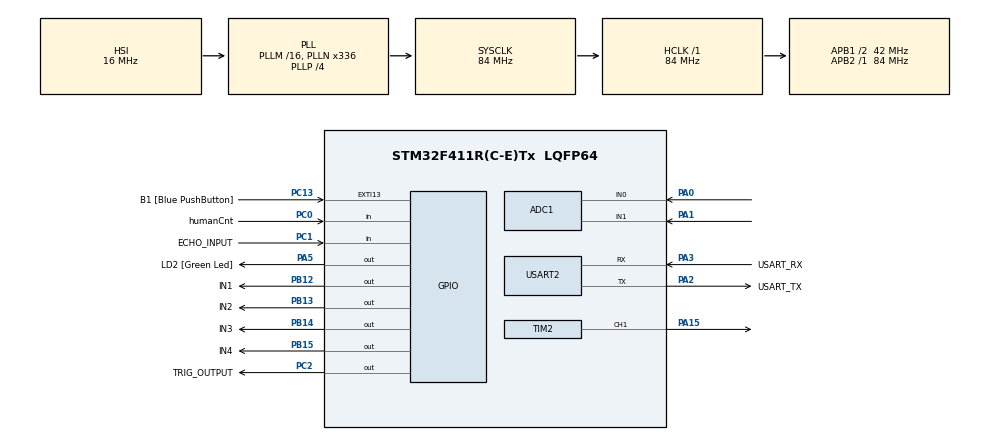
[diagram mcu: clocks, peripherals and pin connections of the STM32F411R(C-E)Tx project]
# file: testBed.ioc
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ADC1.Channel-1\#ChannelRegularConversion=ADC_CHANNEL_0
ADC1.Channel-2\#ChannelRegularConversion=ADC_CHANNEL_1
ADC1.NbrOfConversion=2
ADC1.NbrOfConversionFlag=1
ADC1.Rank-1\#ChannelRegularConversion=1
ADC1.Rank-2\#ChannelRegularConversion=2
ADC1.SamplingTime-1\#ChannelRegularConversion=ADC_SAMPLETIME_84CYCLES
ADC1.SamplingTime-2\#ChannelRegularConversion=ADC_SAMPLETIME_84CYCLES
ADC1.ScanConvMode=ENABLE
ADC1.master=1
Mcu.Family=STM32F4
Mcu.Name=STM32F411R(C-E)Tx
Mcu.Package=LQFP64
NVIC.ADC_IRQn=true\:0\:0\:false\:false\:true\:true\:true\:true
NVIC.PriorityGroup=NVIC_PRIORITYGROUP_0
NVIC.TIM2_IRQn=true\:0\:0\:false\:false\:true\:true\:true\:true
PA0-WKUP.Signal=ADCx_IN0
PA1.Signal=ADCx_IN1
PA13.GPIO_Label=TMS
PA13.Mode=Serial_Wire
PA13.Signal=SYS_JTMS-SWDIO
PA14.GPIO_Label=TCK
PA14.Mode=Serial_Wire
PA14.Signal=SYS_JTCK-SWCLK
PA15.Signal=S_TIM2_CH1_ETR
PA2.GPIO_Label=USART_TX
PA2.Mode=Asynchronous
PA2.Signal=USART2_TX
PA3.GPIO_Label=USART_RX
PA3.Mode=Asynchronous
PA3.Signal=USART2_RX
PA5.GPIO_Label=LD2 [Green Led]
PA5.Signal=GPIO_Output
PB12.GPIO_Label=IN1
PB12.Signal=GPIO_Output
PB13.GPIO_Label=IN2
PB13.Signal=GPIO_Output
PB14.GPIO_Label=IN3
PB14.Signal=GPIO_Output
PB15.GPIO_Label=IN4
PB15.Signal=GPIO_Output
PB3.GPIO_Label=SWO
PB3.Signal=SYS_JTDO-SWO
PC0.GPIO_Label=humanCnt
PC0.Signal=GPIO_Input
PC1.GPIO_Label=ECHO_INPUT
PC1.Signal=GPIO_Input
PC13-ANTI_TAMP.GPIO_Label=B1 [Blue PushButton]
PC13-ANTI_TAMP.GPIO_ModeDefaultEXTI=GPIO_MODE_IT_FALLING
PC13-ANTI_TAMP.Signal=GPXTI13
PC14-OSC32_IN.Signal=RCC_OSC32_IN
PC15-OSC32_OUT.Signal=RCC_OSC32_OUT
PC2.GPIO_Label=TRIG_OUTPUT
PC2.Signal=GPIO_Output
PH0\ -\ OSC_IN.Signal=RCC_OSC_IN
PH1\ -\ OSC_OUT.Signal=RCC_OSC_OUT
ProjectManager.HeapSize=0x200
ProjectManager.StackSize=0x400
ProjectManager.TargetToolchain=STM32CubeIDE
RCC.48MHZClocksFreq_Value=84000000
RCC.AHBFreq_Value=84000000
RCC.APB1CLKDivider=RCC_HCLK_DIV2
RCC.APB1Freq_Value=42000000
RCC.APB1TimFreq_Value=84000000
RCC.APB2Freq_Value=84000000
RCC.APB2TimFreq_Value=84000000
RCC.CortexFreq_Value=84000000
RCC.FLatency-AdvancedSettings=FLASH_LATENCY_2
RCC.HCLKFreq_Value=84000000
RCC.HSE_VALUE=8000000
RCC.HSI_VALUE=16000000
RCC.LSE_VALUE=32768
RCC.PLLN=336
RCC.PLLP=RCC_PLLP_DIV4
RCC.SYSCLKFreq_VALUE=84000000
RCC.SYSCLKSource=RCC_SYSCLKSOURCE_PLLCLK
RCC.VCOOutputFreq_Value=336000000
SH.ADCx_IN0.0=ADC1_IN0,IN0
SH.ADCx_IN1.0=ADC1_IN1,IN1
SH.S_TIM2_CH1_ETR.0=TIM2_CH1,PWM Generation1 CH1
TIM2.AutoReloadPreload=TIM_AUTORELOAD_PRELOAD_ENABLE
TIM2.Channel-PWM\ Generation1\ CH1=TIM_CHANNEL_1
TIM2.Period=20000-1
TIM2.Prescaler=84-1
USART2.VirtualMode=VM_ASYNC
VP_TIM2_VS_ClockSourceINT.Mode=Internal
board=NUCLEO-F411RE

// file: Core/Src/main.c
/* USER CODE BEGIN Header */
/**
  ******************************************************************************
  * @file           : main.c
  * @brief          : Main program body
  ******************************************************************************
  * @attention
  *
  * Copyright (c) 2025 STMicroelectronics.
  * All rights reserved.
  *
  * This software is licensed under terms that can be found in the LICENSE file
  * in the root directory of this software component.
  * If no LICENSE file comes with this software, it is provided AS-IS.
  *
  ******************************************************************************
  */
/* USER CODE END Header */
#include "main.h"

/* USER CODE BEGIN Includes */
#include <stdio.h>
/* USER CODE END Includes */

/* USER CODE BEGIN PD */
#ifdef __GNUC__
/* With GCC, small printf (option LD Linker->Libraries->Small printf
   set to 'Yes') calls __io_putchar() */
#define PUTCHAR_PROTOTYPE int __io_putchar(int ch)
#else
#define PUTCHAR_PROTOTYPE int fputc(int ch, FILE *f)
#endif /* __GNUC__ */*/
/* USER CODE END PD */

ADC_HandleTypeDef hadc1;

TIM_HandleTypeDef htim2;

UART_HandleTypeDef huart2;

/* USER CODE BEGIN PV */
__IO uint16_t ADC1ConvertValue[2]={0};
__IO int adcFlag = 0;
/* USER CODE END PV */

void SystemClock_Config(void);
static void MX_GPIO_Init(void);
static void MX_USART2_UART_Init(void);
static void MX_ADC1_Init(void);
static void MX_TIM2_Init(void);

int main(void)
{

  /* MCU Configuration--------------------------------------------------------*/

  /* Reset of all peripherals, Initializes the Flash interface and the Systick. */
  HAL_Init();

  /* Configure the system clock */
  SystemClock_Config();

  /* Initialize all configured peripherals */
  MX_GPIO_Init();
  MX_USART2_UART_Init();
  MX_ADC1_Init();
  MX_TIM2_Init();
  /* USER CODE BEGIN 2 */
  if(HAL_TIM_Base_Start_IT(&htim2) != HAL_OK)
	  Error_Handler();
  if(HAL_TIM_PWM_Start(&htim2,TIM_CHANNEL_1) != HAL_OK)
	  Error_Handler();
  if(HAL_TIM_PWM_Start(&htim2,TIM_CHANNEL_2) != HAL_OK)
	  Error_Handler();
  /* USER CODE END 2 */

  /* Infinite loop */
  /* USER CODE BEGIN WHILE */
  while (1)
  {
	  __HAL_TIM_SetCompare(&htim2,TIM_CHANNEL_1, 1000);
	  HAL_Delay(1000);
	  __HAL_TIM_SetCompare(&htim2,TIM_CHANNEL_1, 600);
	  HAL_Delay(1000);
    /* USER CODE END WHILE */

  }
}

void SystemClock_Config(void)
{
  RCC_OscInitTypeDef RCC_OscInitStruct = {0};
  RCC_ClkInitTypeDef RCC_ClkInitStruct = {0};

  /** Configure the main internal regulator output voltage
  */
  __HAL_RCC_PWR_CLK_ENABLE();
  __HAL_PWR_VOLTAGESCALING_CONFIG(PWR_REGULATOR_VOLTAGE_SCALE1);

  /** Initializes the RCC Oscillators according to the specified parameters
  * in the RCC_OscInitTypeDef structure.
  */
  RCC_OscInitStruct.OscillatorType = RCC_OSCILLATORTYPE_HSI;
  RCC_OscInitStruct.HSIState = RCC_HSI_ON;
  RCC_OscInitStruct.HSICalibrationValue = RCC_HSICALIBRATION_DEFAULT;
  RCC_OscInitStruct.PLL.PLLState = RCC_PLL_ON;
  RCC_OscInitStruct.PLL.PLLSource = RCC_PLLSOURCE_HSI;
  RCC_OscInitStruct.PLL.PLLM = 16;
  RCC_OscInitStruct.PLL.PLLN = 336;
  RCC_OscInitStruct.PLL.PLLP = RCC_PLLP_DIV4;
  RCC_OscInitStruct.PLL.PLLQ = 4;
  if (HAL_RCC_OscConfig(&RCC_OscInitStruct) != HAL_OK)
  {
    Error_Handler();
  }

  /** Initializes the CPU, AHB and APB buses clocks
  */
  RCC_ClkInitStruct.ClockType = RCC_CLOCKTYPE_HCLK|RCC_CLOCKTYPE_SYSCLK
                              |RCC_CLOCKTYPE_PCLK1|RCC_CLOCKTYPE_PCLK2;
  RCC_ClkInitStruct.SYSCLKSource = RCC_SYSCLKSOURCE_PLLCLK;
  RCC_ClkInitStruct.AHBCLKDivider = RCC_SYSCLK_DIV1;
  RCC_ClkInitStruct.APB1CLKDivider = RCC_HCLK_DIV2;
  RCC_ClkInitStruct.APB2CLKDivider = RCC_HCLK_DIV1;

  if (HAL_RCC_ClockConfig(&RCC_ClkInitStruct, FLASH_LATENCY_2) != HAL_OK)
  {
    Error_Handler();
  }
}

static void MX_ADC1_Init(void)
{

  ADC_ChannelConfTypeDef sConfig = {0};

  /** Configure the global features of the ADC (Clock, Resolution, Data Alignment and number of conversion)
  */
  hadc1.Instance = ADC1;
  hadc1.Init.ClockPrescaler = ADC_CLOCK_SYNC_PCLK_DIV4;
  hadc1.Init.Resolution = ADC_RESOLUTION_12B;
  hadc1.Init.ScanConvMode = ENABLE;
  hadc1.Init.ContinuousConvMode = DISABLE;
  hadc1.Init.DiscontinuousConvMode = DISABLE;
  hadc1.Init.ExternalTrigConvEdge = ADC_EXTERNALTRIGCONVEDGE_NONE;
  hadc1.Init.ExternalTrigConv = ADC_SOFTWARE_START;
  hadc1.Init.DataAlign = ADC_DATAALIGN_RIGHT;
  hadc1.Init.NbrOfConversion = 2;
  hadc1.Init.DMAContinuousRequests = DISABLE;
  hadc1.Init.EOCSelection = ADC_EOC_SINGLE_CONV;
  if (HAL_ADC_Init(&hadc1) != HAL_OK)
  {
    Error_Handler();
  }

  /** Configure for the selected ADC regular channel its corresponding rank in the sequencer and its sample time.
  */
  sConfig.Channel = ADC_CHANNEL_0;
  sConfig.Rank = 1;
  sConfig.SamplingTime = ADC_SAMPLETIME_84CYCLES;
  if (HAL_ADC_ConfigChannel(&hadc1, &sConfig) != HAL_OK)
  {
    Error_Handler();
  }

  /** Configure for the selected ADC regular channel its corresponding rank in the sequencer and its sample time.
  */
  sConfig.Channel = ADC_CHANNEL_1;
  sConfig.Rank = 2;
  if (HAL_ADC_ConfigChannel(&hadc1, &sConfig) != HAL_OK)
  {
    Error_Handler();
  }

}

static void MX_TIM2_Init(void)
{

  TIM_ClockConfigTypeDef sClockSourceConfig = {0};
  TIM_MasterConfigTypeDef sMasterConfig = {0};
  TIM_OC_InitTypeDef sConfigOC = {0};

  htim2.Instance = TIM2;
  htim2.Init.Prescaler = 84-1;
  htim2.Init.CounterMode = TIM_COUNTERMODE_UP;
  htim2.Init.Period = 20000-1;
  htim2.Init.ClockDivision = TIM_CLOCKDIVISION_DIV1;
  htim2.Init.AutoReloadPreload = TIM_AUTORELOAD_PRELOAD_ENABLE;
  if (HAL_TIM_Base_Init(&htim2) != HAL_OK)
  {
    Error_Handler();
  }
  sClockSourceConfig.ClockSource = TIM_CLOCKSOURCE_INTERNAL;
  if (HAL_TIM_ConfigClockSource(&htim2, &sClockSourceConfig) != HAL_OK)
  {
    Error_Handler();
  }
  if (HAL_TIM_PWM_Init(&htim2) != HAL_OK)
  {
    Error_Handler();
  }
  sMasterConfig.MasterOutputTrigger = TIM_TRGO_RESET;
  sMasterConfig.MasterSlaveMode = TIM_MASTERSLAVEMODE_DISABLE;
  if (HAL_TIMEx_MasterConfigSynchronization(&htim2, &sMasterConfig) != HAL_OK)
  {
    Error_Handler();
  }
  sConfigOC.OCMode = TIM_OCMODE_PWM1;
  sConfigOC.Pulse = 0;
  sConfigOC.OCPolarity = TIM_OCPOLARITY_HIGH;
  sConfigOC.OCFastMode = TIM_OCFAST_DISABLE;
  if (HAL_TIM_PWM_ConfigChannel(&htim2, &sConfigOC, TIM_CHANNEL_1) != HAL_OK)
  {
    Error_Handler();
  }
  HAL_TIM_MspPostInit(&htim2);

}

static void MX_USART2_UART_Init(void)
{

  huart2.Instance = USART2;
  huart2.Init.BaudRate = 115200;
  huart2.Init.WordLength = UART_WORDLENGTH_8B;
  huart2.Init.StopBits = UART_STOPBITS_1;
  huart2.Init.Parity = UART_PARITY_NONE;
  huart2.Init.Mode = UART_MODE_TX_RX;
  huart2.Init.HwFlowCtl = UART_HWCONTROL_NONE;
  huart2.Init.OverSampling = UART_OVERSAMPLING_16;
  if (HAL_UART_Init(&huart2) != HAL_OK)
  {
    Error_Handler();
  }

}

static void MX_GPIO_Init(void)
{
  GPIO_InitTypeDef GPIO_InitStruct = {0};

  /* GPIO Ports Clock Enable */
  __HAL_RCC_GPIOC_CLK_ENABLE();
  __HAL_RCC_GPIOH_CLK_ENABLE();
  __HAL_RCC_GPIOA_CLK_ENABLE();
  __HAL_RCC_GPIOB_CLK_ENABLE();

  /*Configure GPIO pin Output Level */
  HAL_GPIO_WritePin(TRIG_OUTPUT_GPIO_Port, TRIG_OUTPUT_Pin, GPIO_PIN_RESET);

  /*Configure GPIO pin Output Level */
  HAL_GPIO_WritePin(LD2_GPIO_Port, LD2_Pin, GPIO_PIN_RESET);

  /*Configure GPIO pin Output Level */
  HAL_GPIO_WritePin(GPIOB, IN1_Pin|IN2_Pin|IN3_Pin|IN4_Pin, GPIO_PIN_RESET);

  /*Configure GPIO pin : B1_Pin */
  GPIO_InitStruct.Pin = B1_Pin;
  GPIO_InitStruct.Mode = GPIO_MODE_IT_FALLING;
  GPIO_InitStruct.Pull = GPIO_NOPULL;
  HAL_GPIO_Init(B1_GPIO_Port, &GPIO_InitStruct);

  /*Configure GPIO pins : humanCnt_Pin ECHO_INPUT_Pin */
  GPIO_InitStruct.Pin = humanCnt_Pin|ECHO_INPUT_Pin;
  GPIO_InitStruct.Mode = GPIO_MODE_INPUT;
  GPIO_InitStruct.Pull = GPIO_NOPULL;
  HAL_GPIO_Init(GPIOC, &GPIO_InitStruct);

  /*Configure GPIO pin : TRIG_OUTPUT_Pin */
  GPIO_InitStruct.Pin = TRIG_OUTPUT_Pin;
  GPIO_InitStruct.Mode = GPIO_MODE_OUTPUT_PP;
  GPIO_InitStruct.Pull = GPIO_NOPULL;
  GPIO_InitStruct.Speed = GPIO_SPEED_FREQ_LOW;
  HAL_GPIO_Init(TRIG_OUTPUT_GPIO_Port, &GPIO_InitStruct);

  /*Configure GPIO pin : LD2_Pin */
  GPIO_InitStruct.Pin = LD2_Pin;
  GPIO_InitStruct.Mode = GPIO_MODE_OUTPUT_PP;
  GPIO_InitStruct.Pull = GPIO_NOPULL;
  GPIO_InitStruct.Speed = GPIO_SPEED_FREQ_LOW;
  HAL_GPIO_Init(LD2_GPIO_Port, &GPIO_InitStruct);

  /*Configure GPIO pins : IN1_Pin IN2_Pin IN3_Pin IN4_Pin */
  GPIO_InitStruct.Pin = IN1_Pin|IN2_Pin|IN3_Pin|IN4_Pin;
  GPIO_InitStruct.Mode = GPIO_MODE_OUTPUT_PP;
  GPIO_InitStruct.Pull = GPIO_NOPULL;
  GPIO_InitStruct.Speed = GPIO_SPEED_FREQ_LOW;
  HAL_GPIO_Init(GPIOB, &GPIO_InitStruct);

}

/* USER CODE BEGIN 4 */
PUTCHAR_PROTOTYPE
{
  /* Place your implementation of fputc here */
  /* e.g. write a character to the USART6 and Loop until the end of transmission */
  HAL_UART_Transmit(&huart2, (uint8_t *)&ch, 1, 0xFFFF);

  return ch;
}
//void stepMotor(int step) {
//    switch (step) {
//        case 0:
//            HAL_GPIO_WritePin(GPIOB, IN1_Pin, GPIO_PIN_SET);
//            HAL_GPIO_WritePin(GPIOB, IN2_Pin, GPIO_PIN_RESET);
//            HAL_GPIO_WritePin(GPIOB, IN3_Pin, GPIO_PIN_RESET);
//            HAL_GPIO_WritePin(GPIOB, IN4_Pin, GPIO_PIN_RESET);
//            break;
//        case 1:
//            HAL_GPIO_WritePin(GPIOB, IN1_Pin, GPIO_PIN_RESET);
//            HAL_GPIO_WritePin(GPIOB, IN2_Pin, GPIO_PIN_SET);
//            HAL_GPIO_WritePin(GPIOB, IN3_Pin, GPIO_PIN_RESET);
//            HAL_GPIO_WritePin(GPIOB, IN4_Pin, GPIO_PIN_RESET);
//            break;
//        case 2:
//            HAL_GPIO_WritePin(GPIOB, IN1_Pin, GPIO_PIN_RESET);
//            HAL_GPIO_WritePin(GPIOB, IN2_Pin, GPIO_PIN_RESET);
//            HAL_GPIO_WritePin(GPIOB, IN3_Pin, GPIO_PIN_SET);
//            HAL_GPIO_WritePin(GPIOB, IN4_Pin, GPIO_PIN_RESET);
//            break;
//        case 3:
//            HAL_GPIO_WritePin(GPIOB, IN1_Pin, GPIO_PIN_RESET);
//            HAL_GPIO_WritePin(GPIOB, IN2_Pin, GPIO_PIN_RESET);
//            HAL_GPIO_WritePin(GPIOB, IN3_Pin, GPIO_PIN_RESET);
//            HAL_GPIO_WritePin(GPIOB, IN4_Pin, GPIO_PIN_SET);
//            break;
//    }
//}
//
//void rotateMotor(int steps) {
//    for (int i = 0; i < steps; i++) {
//        for (int j = 0; j < 4; j++) {
//            stepMotor(j);
//            HAL_Delay(1); // 스텝 간의 지연 시간
//        }
//    }
//}
void HAL_ADC_ConvCpltCallback(ADC_HandleTypeDef *hadc)
{

	static int channel=0;
	if(channel == 0)
	{
		ADC1ConvertValue[channel] = HAL_ADC_GetValue(hadc);
		printf("channel0 : %d\r\n", ADC1ConvertValue[channel]);
		channel = 1;
	}
	else if(channel == 1)
	{
		ADC1ConvertValue[channel]= HAL_ADC_GetValue(hadc);
		printf("channel1 : %d\r\n", ADC1ConvertValue[channel]);
		channel = 0;
		adcFlag = 1;
	}
}
/* USER CODE END 4 */

void Error_Handler(void)
{
  __disable_irq();
  while (1)
  {
  }
}
